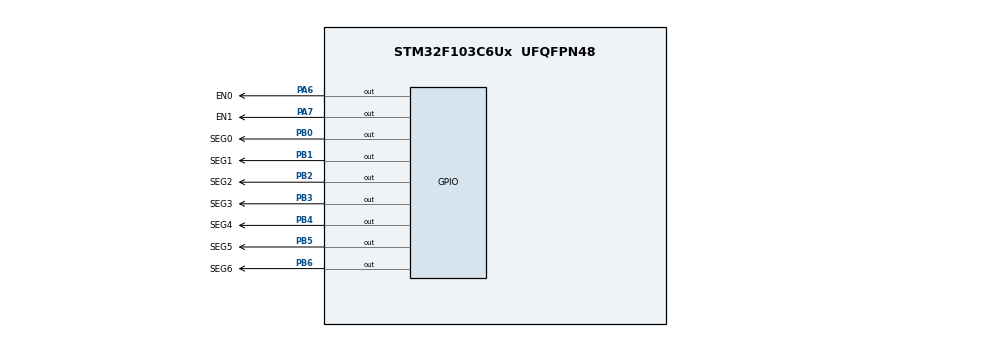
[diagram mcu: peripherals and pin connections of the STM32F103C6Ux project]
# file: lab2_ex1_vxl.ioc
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Mcu.Family=STM32F1
Mcu.Name=STM32F103C6Ux
Mcu.Package=UFQFPN48
NVIC.PriorityGroup=NVIC_PRIORITYGROUP_4
NVIC.TIM2_IRQn=true\:0\:0\:false\:false\:true\:true\:true
PA6.GPIO_Label=EN0
PA6.Signal=GPIO_Output
PA7.GPIO_Label=EN1
PA7.Signal=GPIO_Output
PB0.GPIO_Label=SEG0
PB0.Signal=GPIO_Output
PB1.GPIO_Label=SEG1
PB1.Signal=GPIO_Output
PB2.GPIO_Label=SEG2
PB2.Signal=GPIO_Output
PB3.GPIO_Label=SEG3
PB3.Signal=GPIO_Output
PB4.GPIO_Label=SEG4
PB4.Signal=GPIO_Output
PB5.GPIO_Label=SEG5
PB5.Signal=GPIO_Output
PB6.GPIO_Label=SEG6
PB6.Signal=GPIO_Output
ProjectManager.HeapSize=0x200
ProjectManager.StackSize=0x400
ProjectManager.TargetToolchain=STM32CubeIDE
RCC.APB1Freq_Value=8000000
RCC.APB2Freq_Value=8000000
TIM2.Period=9
TIM2.Prescaler=7999
VP_SYS_VS_ND.Mode=No_Debug
VP_TIM2_VS_ClockSourceINT.Mode=Internal
board=custom

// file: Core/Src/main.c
/* USER CODE BEGIN Header */
/**
  ******************************************************************************
  * @file           : main.c
  * @brief          : Main program body
  ******************************************************************************
  * @attention
  *
  * <h2><center>&copy; Copyright (c) 2026 STMicroelectronics.
  * All rights reserved.</center></h2>
  *
  * This software component is licensed by ST under BSD 3-Clause license,
  * the "License"; You may not use this file except in compliance with the
  * License. You may obtain a copy of the License at:
  *                        opensource.org/licenses/BSD-3-Clause
  *
  ******************************************************************************
  */
/* USER CODE END Header */
#include "main.h"

TIM_HandleTypeDef htim2;

/* USER CODE BEGIN PV */

volatile int timer_counter = 0;
volatile int led_index = 0;

/* USER CODE END PV */

void SystemClock_Config(void);
static void MX_GPIO_Init(void);
static void MX_TIM2_Init(void);
/* USER CODE BEGIN PFP */
void display7SEG(int num);
void disableAll7SEG(void);
/* USER CODE END PFP */

/* USER CODE BEGIN 0 */

void disableAll7SEG(void)
{
    HAL_GPIO_WritePin(GPIOA,
                      EN0_Pin | EN1_Pin,
                      GPIO_PIN_SET);
}

void display7SEG(int num)
{
    /* Turn OFF all segments first */
    HAL_GPIO_WritePin(GPIOB,
                      GPIO_PIN_0 |
                      GPIO_PIN_1 |
                      GPIO_PIN_2 |
                      GPIO_PIN_3 |
                      GPIO_PIN_4 |
                      GPIO_PIN_5 |
                      GPIO_PIN_6,
                      GPIO_PIN_SET);

    switch(num)
    {
        case 1:

            HAL_GPIO_WritePin(GPIOB,
                              GPIO_PIN_1,
                              GPIO_PIN_RESET);

            HAL_GPIO_WritePin(GPIOB,
                              GPIO_PIN_2,
                              GPIO_PIN_RESET);

            break;

        case 2:

            HAL_GPIO_WritePin(GPIOB,
                              GPIO_PIN_0,
                              GPIO_PIN_RESET);

            HAL_GPIO_WritePin(GPIOB,
                              GPIO_PIN_1,
                              GPIO_PIN_RESET);

            HAL_GPIO_WritePin(GPIOB,
                              GPIO_PIN_3,
                              GPIO_PIN_RESET);

            HAL_GPIO_WritePin(GPIOB,
                              GPIO_PIN_4,
                              GPIO_PIN_RESET);

            HAL_GPIO_WritePin(GPIOB,
                              GPIO_PIN_6,
                              GPIO_PIN_RESET);

            break;

        default:

            break;
    }
}

/* USER CODE END 0 */

int main(void)
{

  /* MCU Configuration--------------------------------------------------------*/

  /* Reset of all peripherals, Initializes the Flash interface and the Systick. */
  HAL_Init();

  /* Configure the system clock */
  SystemClock_Config();

  /* Initialize all configured peripherals */
  MX_GPIO_Init();
  MX_TIM2_Init();
  /* USER CODE BEGIN 2 */
  /* Tắt cả 2 LED 7 đoạn lúc bắt đầu */
  HAL_GPIO_WritePin(GPIOA, EN0_Pin | EN1_Pin, GPIO_PIN_SET);

  /* Tắt tất cả các segment a-g lúc bắt đầu */
  HAL_GPIO_WritePin(GPIOB,
                    GPIO_PIN_0 |
                    GPIO_PIN_1 |
                    GPIO_PIN_2 |
                    GPIO_PIN_3 |
                    GPIO_PIN_4 |
                    GPIO_PIN_5 |
                    GPIO_PIN_6,
                    GPIO_PIN_SET);

  /* Khởi động TIM2 interrupt */
  HAL_TIM_Base_Start_IT(&htim2);

  /* USER CODE END 2 */

  /* Infinite loop */
  while (1)
  {

  }
}

void SystemClock_Config(void)
{
  RCC_OscInitTypeDef RCC_OscInitStruct = {0};
  RCC_ClkInitTypeDef RCC_ClkInitStruct = {0};

  /** Initializes the RCC Oscillators according to the specified parameters
  * in the RCC_OscInitTypeDef structure.
  */
  RCC_OscInitStruct.OscillatorType = RCC_OSCILLATORTYPE_HSI;
  RCC_OscInitStruct.HSIState = RCC_HSI_ON;
  RCC_OscInitStruct.HSICalibrationValue = RCC_HSICALIBRATION_DEFAULT;
  RCC_OscInitStruct.PLL.PLLState = RCC_PLL_NONE;
  if (HAL_RCC_OscConfig(&RCC_OscInitStruct) != HAL_OK)
  {
    Error_Handler();
  }
  /** Initializes the CPU, AHB and APB buses clocks
  */
  RCC_ClkInitStruct.ClockType = RCC_CLOCKTYPE_HCLK|RCC_CLOCKTYPE_SYSCLK
                              |RCC_CLOCKTYPE_PCLK1|RCC_CLOCKTYPE_PCLK2;
  RCC_ClkInitStruct.SYSCLKSource = RCC_SYSCLKSOURCE_HSI;
  RCC_ClkInitStruct.AHBCLKDivider = RCC_SYSCLK_DIV1;
  RCC_ClkInitStruct.APB1CLKDivider = RCC_HCLK_DIV1;
  RCC_ClkInitStruct.APB2CLKDivider = RCC_HCLK_DIV1;

  if (HAL_RCC_ClockConfig(&RCC_ClkInitStruct, FLASH_LATENCY_0) != HAL_OK)
  {
    Error_Handler();
  }
}

static void MX_TIM2_Init(void)
{

  TIM_ClockConfigTypeDef sClockSourceConfig = {0};
  TIM_MasterConfigTypeDef sMasterConfig = {0};

  htim2.Instance = TIM2;
  htim2.Init.Prescaler = 7999;
  htim2.Init.CounterMode = TIM_COUNTERMODE_UP;
  htim2.Init.Period = 9;
  htim2.Init.ClockDivision = TIM_CLOCKDIVISION_DIV1;
  htim2.Init.AutoReloadPreload = TIM_AUTORELOAD_PRELOAD_DISABLE;
  if (HAL_TIM_Base_Init(&htim2) != HAL_OK)
  {
    Error_Handler();
  }
  sClockSourceConfig.ClockSource = TIM_CLOCKSOURCE_INTERNAL;
  if (HAL_TIM_ConfigClockSource(&htim2, &sClockSourceConfig) != HAL_OK)
  {
    Error_Handler();
  }
  sMasterConfig.MasterOutputTrigger = TIM_TRGO_RESET;
  sMasterConfig.MasterSlaveMode = TIM_MASTERSLAVEMODE_DISABLE;
  if (HAL_TIMEx_MasterConfigSynchronization(&htim2, &sMasterConfig) != HAL_OK)
  {
    Error_Handler();
  }

}

static void MX_GPIO_Init(void)
{
  GPIO_InitTypeDef GPIO_InitStruct = {0};

  /* GPIO Ports Clock Enable */
  __HAL_RCC_GPIOA_CLK_ENABLE();
  __HAL_RCC_GPIOB_CLK_ENABLE();

  /*Configure GPIO pin Output Level */
  HAL_GPIO_WritePin(GPIOA, EN0_Pin|EN1_Pin, GPIO_PIN_RESET);

  /*Configure GPIO pin Output Level */
  HAL_GPIO_WritePin(GPIOB, SEG0_Pin|SEG1_Pin|SEG2_Pin|SEG3_Pin
                          |SEG4_Pin|SEG5_Pin|SEG6_Pin, GPIO_PIN_RESET);

  /*Configure GPIO pins : EN0_Pin EN1_Pin */
  GPIO_InitStruct.Pin = EN0_Pin|EN1_Pin;
  GPIO_InitStruct.Mode = GPIO_MODE_OUTPUT_PP;
  GPIO_InitStruct.Pull = GPIO_NOPULL;
  GPIO_InitStruct.Speed = GPIO_SPEED_FREQ_LOW;
  HAL_GPIO_Init(GPIOA, &GPIO_InitStruct);

  /*Configure GPIO pins : SEG0_Pin SEG1_Pin SEG2_Pin SEG3_Pin
                           SEG4_Pin SEG5_Pin SEG6_Pin */
  GPIO_InitStruct.Pin = SEG0_Pin|SEG1_Pin|SEG2_Pin|SEG3_Pin
                          |SEG4_Pin|SEG5_Pin|SEG6_Pin;
  GPIO_InitStruct.Mode = GPIO_MODE_OUTPUT_PP;
  GPIO_InitStruct.Pull = GPIO_NOPULL;
  GPIO_InitStruct.Speed = GPIO_SPEED_FREQ_LOW;
  HAL_GPIO_Init(GPIOB, &GPIO_InitStruct);

}

/* USER CODE BEGIN 4 */

void HAL_TIM_PeriodElapsedCallback(TIM_HandleTypeDef *htim)
{
    if(htim->Instance == TIM2)
    {
        timer_counter++;
        if(timer_counter >= 50)
        {
            timer_counter = 0;

            /* Disable both displays before changing data */
            disableAll7SEG();

            if(led_index == 0)
            {
                display7SEG(1);

                HAL_GPIO_WritePin(GPIOA,
                                  EN0_Pin,
                                  GPIO_PIN_RESET);

                led_index = 1;
            }
            else
            {
                display7SEG(2);

                HAL_GPIO_WritePin(GPIOA,
                                  EN1_Pin,
                                  GPIO_PIN_RESET);

                led_index = 0;
            }
        }
    }
}

/* USER CODE END 4 */

void Error_Handler(void)
{
  __disable_irq();
  while (1)
  {
  }
}

/************************ (C) COPYRIGHT STMicroelectronics *****END OF FILE****/
